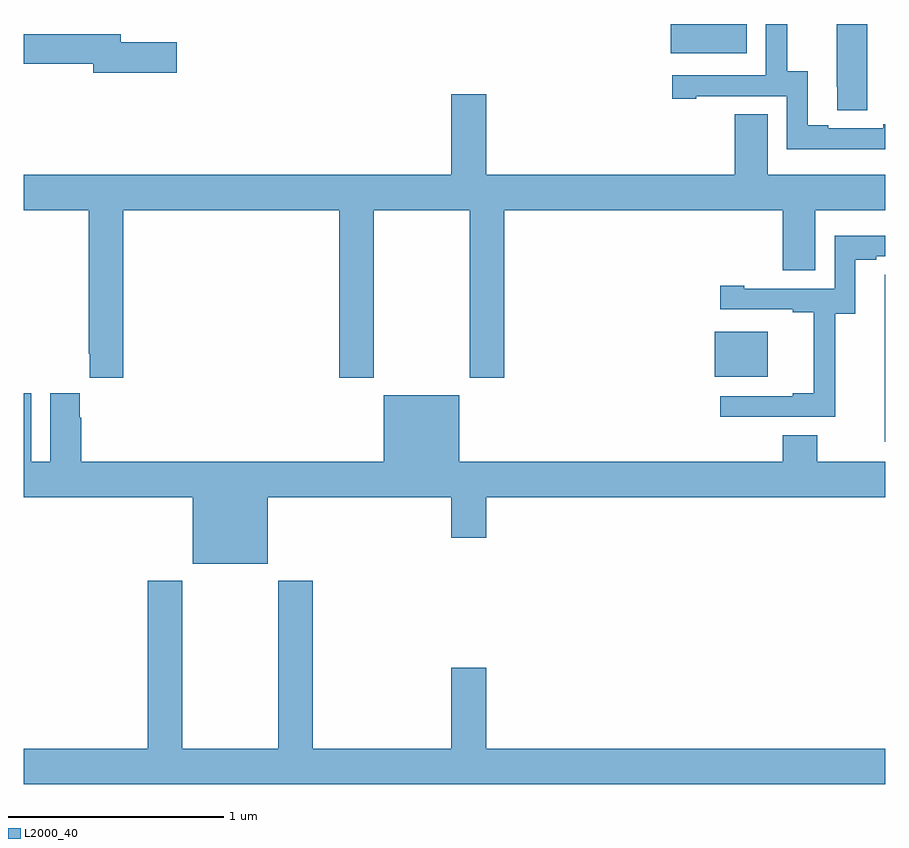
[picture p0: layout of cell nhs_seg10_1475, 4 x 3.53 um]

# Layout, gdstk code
import gdstk
lib = gdstk.Library(unit=1e-6, precision=1e-09)
def R(c, l, rs):  # rectangles x0, y0, x1, y1
    for r in rs: c.add(gdstk.rectangle(r[:2], r[2:], *l))
def P(c, l, *ps):  # polygons
    for p in ps: c.add(gdstk.Polygon(p, *l))
L2000_40 = (2000, 40)

nhs_seg10_1475 = lib.new_cell('nhs_seg10_1475')
R(nhs_seg10_1475, L2000_40, [(190.208,1312.862,190.453,1313.071), (190.004,1314.365,190.357,1314.5)])
P(nhs_seg10_1475, L2000_40, [(191,1314.035),(190.991,1314.035),(190.991,1314.015),(190.735,1314.015),(190.735,1314.03),(190.639,1314.03),(190.639,1314.281),(190.545,1314.281),(190.545,1314.5),(190.446,1314.5),(190.446,1314.261),(190.011,1314.261),(190.011,1314.153),(190.123,1314.153),(190.123,1314.165),(190.542,1314.165),(190.542,1313.919),(191,1313.919)],
  [(190.915,1314.5),(190.775,1314.5),(190.775,1314.208),(190.776,1314.208),(190.776,1314.1),(190.915,1314.1)],
  [(187.711,1314.416),(187.45,1314.416),(187.45,1314.452),(187,1314.452),(187,1314.316),(187.322,1314.316),(187.322,1314.274),(187.711,1314.274)],
  [(187.463,1313.636),(188.465,1313.636),(188.465,1312.857),(188.625,1312.857),(188.625,1313.636),(189.07,1313.636),(189.07,1312.857),(189.23,1312.857),(189.23,1313.636),(190.523,1313.636),(190.523,1313.356),(190.675,1313.356),(190.675,1313.636),(191,1313.636),(191,1313.8),(190.453,1313.8),(190.453,1314.08),(190.301,1314.08),(190.301,1313.8),(189.148,1313.8),(189.148,1314.175),(188.984,1314.175),(188.984,1313.8),(187,1313.8),(187,1313.636),(187.303,1313.636),(187.303,1312.969),(187.307,1312.969),(187.307,1312.857),(187.463,1312.857)],
  [(190.767,1313.155),(190.861,1313.155),(190.861,1313.406),(190.957,1313.406),(190.957,1313.421),(191,1313.421),(191,1313.517),(190.764,1313.517),(190.764,1313.271),(190.345,1313.271),(190.345,1313.284),(190.233,1313.284),(190.233,1313.175),(190.571,1313.175),(190.571,1313.163),(190.667,1313.163),(190.667,1312.786),(190.571,1312.786),(190.571,1312.773),(190.233,1312.773),(190.233,1312.677),(190.767,1312.677)],
  [(191,1313.336),(190.998,1313.336),(190.998,1313.228),(190.997,1313.228),(190.997,1312.56),(191,1312.56)],
  [(188.134,1312.304),(188.984,1312.304),(188.984,1312.116),(189.148,1312.116),(189.148,1312.304),(191,1312.304),(191,1312.468),(190.683,1312.468),(190.683,1312.592),(190.523,1312.592),(190.523,1312.468),(189.022,1312.468),(189.022,1312.777),(188.672,1312.777),(188.672,1312.468),(187.268,1312.468),(187.268,1312.673),(187.261,1312.673),(187.261,1312.786),(187.124,1312.786),(187.124,1312.468),(187.036,1312.468),(187.036,1312.786),(187,1312.786),(187,1312.304),(187.784,1312.304),(187.784,1311.995),(188.134,1311.995)],
  [(191,1311.136),(189.148,1311.136),(189.148,1311.511),(188.984,1311.511),(188.984,1311.136),(188.342,1311.136),(188.342,1311.916),(188.182,1311.916),(188.182,1311.136),(187.737,1311.136),(187.737,1311.916),(187.577,1311.916),(187.577,1311.136),(187,1311.136),(187,1310.972),(191,1310.972)])

lib.write_gds('nhs_seg10_1475.gds')
